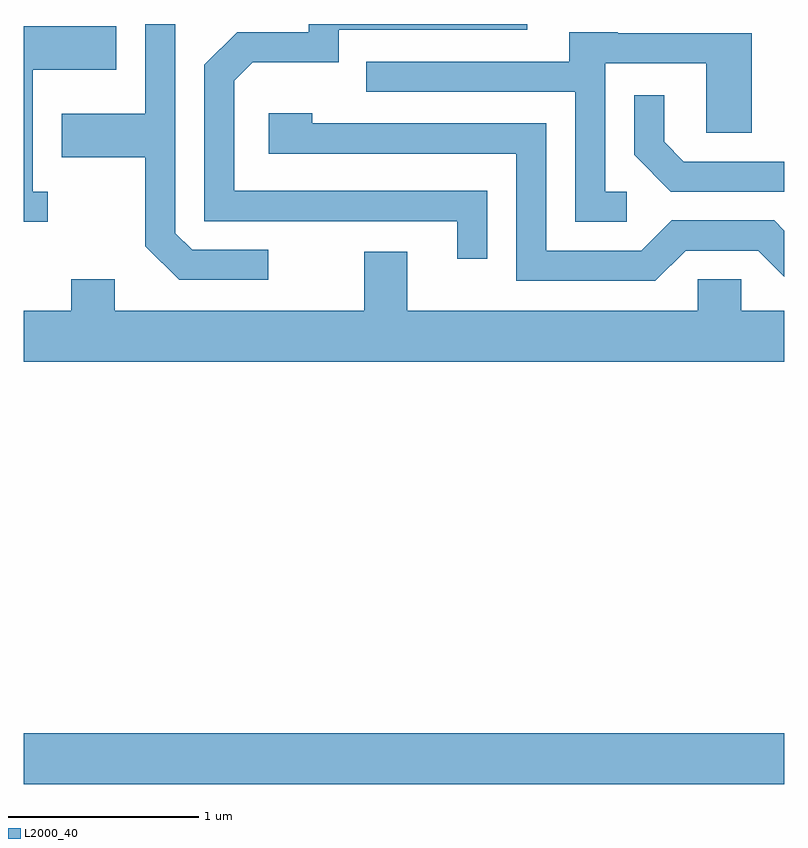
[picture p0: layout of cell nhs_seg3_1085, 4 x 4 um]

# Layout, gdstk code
import gdstk
lib = gdstk.Library(unit=1e-6, precision=1e-09)
def R(c, l, rs):  # rectangles x0, y0, x1, y1
    for r in rs: c.add(gdstk.rectangle(r[:2], r[2:], *l))
def P(c, l, *ps):  # polygons
    for p in ps: c.add(gdstk.Polygon(p, *l))
L2000_40 = (2000, 40)

nhs_seg3_1085 = lib.new_cell('nhs_seg3_1085')
R(nhs_seg3_1085, L2000_40, [(215.611,1245.896,219.611,1246.164)])
P(nhs_seg3_1085, L2000_40, [(218.049,1249.014),(216.719,1249.014),(216.719,1249.594),(216.817,1249.691),(217.269,1249.691),(217.269,1249.861),(218.259,1249.861),(218.259,1249.892),(217.111,1249.892),(217.111,1249.849),(216.734,1249.849),(216.561,1249.677),(216.561,1248.856),(217.891,1248.856),(217.891,1248.658),(218.049,1248.658)],
  [(216.898,1248.704),(216.497,1248.704),(216.409,1248.792),(216.409,1249.892),(216.251,1249.892),(216.251,1249.419),(215.811,1249.419),(215.811,1249.191),(216.251,1249.191),(216.251,1248.724),(216.429,1248.546),(216.898,1248.546)],
  [(215.738,1249.009),(215.659,1249.009),(215.659,1249.651),(216.099,1249.651),(216.099,1249.879),(215.611,1249.879),(215.611,1248.851),(215.738,1248.851)],
  [(218.783,1249.009),(218.669,1249.009),(218.669,1249.686),(219.201,1249.686),(219.201,1249.321),(219.439,1249.321),(219.439,1249.844),(218.735,1249.844),(218.735,1249.849),(218.481,1249.849),(218.481,1249.694),(217.413,1249.694),(217.413,1249.536),(218.511,1249.536),(218.511,1248.851),(218.783,1248.851)],
  [(219.611,1249.169),(219.082,1249.169),(218.979,1249.272),(218.979,1249.518),(218.821,1249.518),(218.821,1249.204),(219.014,1249.011),(219.611,1249.011)],
  [(219.092,1248.701),(219.474,1248.701),(219.611,1248.564),(219.611,1248.805),(219.557,1248.859),(219.019,1248.859),(218.859,1248.699),(218.359,1248.699),(218.359,1249.369),(217.129,1249.369),(217.129,1249.424),(216.901,1249.424),(216.901,1249.211),(218.201,1249.211),(218.201,1248.541),(218.932,1248.541)],
  [(219.611,1248.384),(219.384,1248.384),(219.384,1248.549),(219.156,1248.549),(219.156,1248.384),(217.629,1248.384),(217.629,1248.694),(217.401,1248.694),(217.401,1248.384),(216.089,1248.384),(216.089,1248.549),(215.861,1248.549),(215.861,1248.384),(215.611,1248.384),(215.611,1248.116),(219.611,1248.116)])

lib.write_gds('nhs_seg3_1085.gds')
